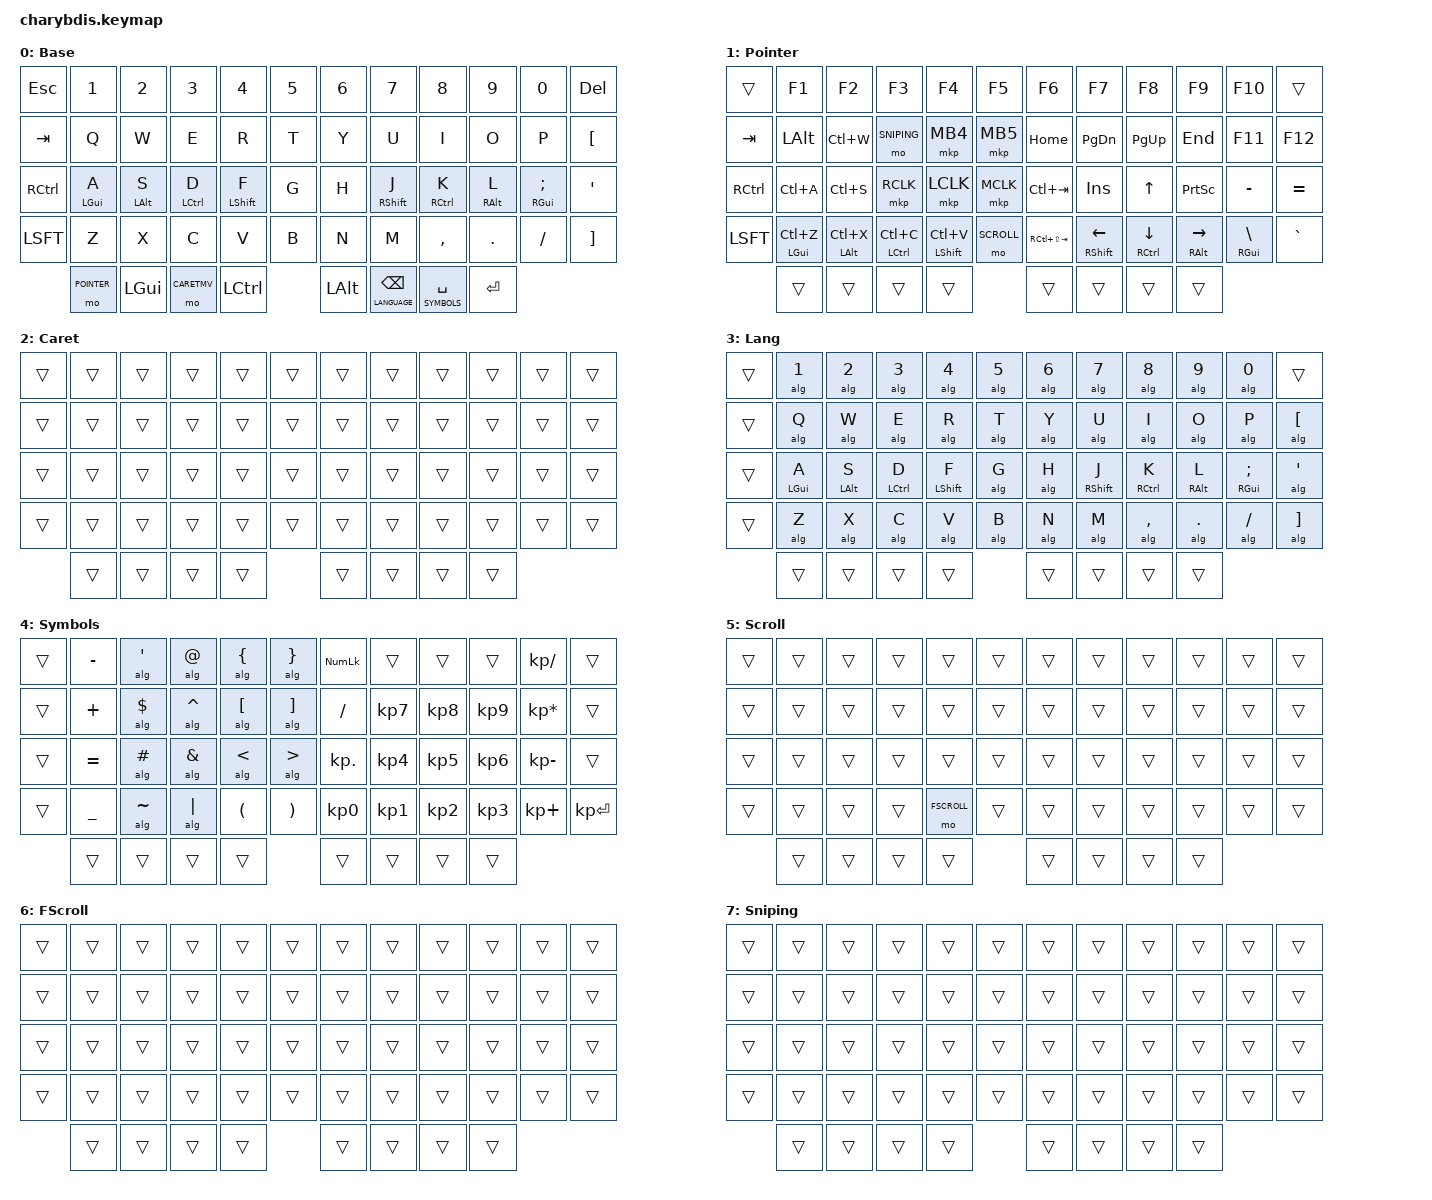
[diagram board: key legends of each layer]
#include <behaviors.dtsi>
#include <dt-bindings/zmk/keys.h>
#include <dt-bindings/zmk/pointing.h>

// Layer definitions
#define BASE 0
#define POINTER 1
#define CARETMV 2
#define LANGUAGE 3
#define SYMBOLS 4
#define SCROLL 5
#define FSCROLL 6
#define SNIPING 7

#define KEYS_L 0 1 2 3 4 5 12 13 14 15 16 17 24 25 26 27 28 29 36 37 38 39 40 41
#define KEYS_R 6 7 8 9 10 11 18 19 20 21 22 23 30 31 32 33 34 35 42 43 44 45 46 47
#define THUMBS 48 49 50 51 52 53 54 55

&mt {
    quick-tap-ms = <200>;
    flavor = "tap-preferred";
    tapping-term-ms = <170>;
};

&lt {
    quick-tap-ms = <200>;
    flavor = "tap-preferred";
    tapping-term-ms = <170>;
};
/ {
  behaviors {
    // Hold-tap behavior for layer with tap-preferred
    blt: blt {
      compatible = "zmk,behavior-hold-tap";
      #binding-cells = <2>;
      flavor = "tap-preferred";
      tapping-term-ms = <200>;
      quick-tap-ms = <300>;
      require-prior-idle-ms = <100>;
      bindings = <&mo>, <&kp>;
    };

    hml: hml {
      compatible = "zmk,behavior-hold-tap";
      #binding-cells = <2>;
      flavor = "balanced";
      tapping-term-ms = <280>;
      quick-tap-ms = <175>;
      require-prior-idle-ms = <150>;
      hold-trigger-key-positions = <KEYS_R THUMBS>;
      hold-trigger-on-release;
      bindings =
        <&kp>,
        <&kp>;
    };

    hmr: hmr {
      compatible = "zmk,behavior-hold-tap";
      #binding-cells = <2>;
      flavor = "balanced";
      tapping-term-ms = <280>;
      quick-tap-ms = <175>;
      require-prior-idle-ms = <150>;
      hold-trigger-key-positions = <KEYS_L THUMBS>;
      hold-trigger-on-release;
      bindings =
        <&kp>,
        <&kp>;
    };

    lg_hml: language_home_row_mod_left {
      compatible = "zmk,behavior-hold-tap";
      #binding-cells = <2>;
      flavor = "balanced";
      tapping-term-ms = <280>;
      quick-tap-ms = <175>;
      require-prior-idle-ms = <150>;
      hold-trigger-key-positions = <KEYS_R THUMBS>;
      hold-trigger-on-release;
      bindings =
        <&kp>,
        <&alg>;
    };

    lg_hmr: language_home_row_mod_right {
      compatible = "zmk,behavior-hold-tap";
      #binding-cells = <2>;
      flavor = "balanced";
      tapping-term-ms = <280>;
      quick-tap-ms = <175>;
      require-prior-idle-ms = <150>;
      hold-trigger-key-positions = <KEYS_L THUMBS>;
      hold-trigger-on-release;
      bindings =
        <&kp>,
        <&alg>;
    };

  };
  
  macros {
    // Switching to another language with Ctrl + Shift, typing a key, and switching back
    alg: another_language  {
      compatible = "zmk,behavior-macro-one-param";
      wait-ms = <10>;
      tap-ms = <10>;
      #binding-cells = <1>;
      bindings
		= <&macro_tap &kp LS(LCTRL)>
        , <&macro_param_1to1>
        , <&macro_tap &kp MACRO_PLACEHOLDER>
		, <&macro_tap &kp LS(LCTRL)>
        ;
    };
    
  };
  
  combos {
    compatible = "zmk,combos";
    timeout-ms = <20>;
    require-prior-idle-ms = <250>;

    combo_reset_central {
      key-positions = <10 11 46>;
      bindings = <&bootloader>;
      require-prior-idle-ms = <2000>;
    };

    combo_studio_unlock {
      timeout-ms = <50>;
      key-positions = <53 54 55>;
      bindings = <&studio_unlock>;
    };
  };
  chosen {
    zmk,physical-layout = &charybdis_6col_layout;
  };

  keymap {
    compatible = "zmk,keymap";
// ╭─────────────┬─────────────┬─────────────┬─────────────┬─────────────┬─────────────╮   ╭─────────────┬─────────────┬─────────────┬─────────────┬─────────────┬─────────────╮
//    0             1             2             3             4             5                 6             7             8             9            10            11
// ├─────────────┼─────────────┼─────────────┼─────────────┼─────────────┼─────────────┤   ├─────────────┼─────────────┼─────────────┼─────────────┼─────────────┼─────────────┤
//   12            13            14            15            16            17                18            19            20            21            22            23
// ├─────────────┼─────────────┼─────────────┼─────────────┼─────────────┼─────────────┤   ├─────────────┼─────────────┼─────────────┼─────────────┼─────────────┼─────────────┤
//   24            25            26            27            28            29                30            31            32            33            34            35
// ├─────────────┼─────────────┼─────────────┼─────────────┼─────────────┼─────────────┤   ├─────────────┼─────────────┼─────────────┼─────────────┼─────────────┼─────────────┤
//   36            37            38            39            40            41                42            43            44            45            46            47
// ╰─────────────┴─────────────┴─────────────┴─────────────┴─────────────┴─────────────╯   ╰─────────────┴─────────────┴─────────────┴─────────────┴─────────────┴─────────────╯
//               ╭─────────────┬─────────────┬─────────────┬─────────────┬─────────────╮   ╭─────────────┬─────────────┬─────────────╮
//                  48            49            50            51            52                53            54            55
//               ╰─────────────┴─────────────┴─────────────┴─────────────┴─────────────╯   ╰─────────────┴─────────────┴─────────────╯
//                                                                         Actual Key Positions
//                                          ╭─────────────┬─────────────┬─────────────╮    ╭─────────────┬─────────────╮
//                                             48           49            50                 53            54
//                                          ╰─────────────┼─────────────┼─────────────┤    ├─────────────┼─────────────╯
//                                                          51            52                 55
//                                                        ╰─────────────┴─────────────╯    ╰─────────────╯

    base_layer {
      label = "BASE";
      display-name = "Base";
      bindings = <
// ╭─────────────┬─────────────┬─────────────┬─────────────┬─────────────┬─────────────╮   ╭─────────────┬───────────────────┬────────────────┬─────────────┬───────────────┬─────────────╮
    &kp ESC       &kp N1        &kp N2        &kp N3        &kp N4        &kp N5            &kp N6        &kp N7              &kp N8           &kp N9        &kp N0          &kp DEL
// ├─────────────┼─────────────┼─────────────┼─────────────┼─────────────┼─────────────┤   ├─────────────┼───────────────────┼────────────────┼─────────────┼───────────────┼─────────────┤
    &kp TAB       &kp Q         &kp W         &kp E         &kp R         &kp T             &kp Y         &kp U               &kp I            &kp O         &kp P           &kp LBKT
// ├─────────────┼─────────────┼─────────────┼─────────────┼─────────────┼─────────────┤   ├─────────────┼───────────────────┼────────────────┼─────────────┼───────────────┼─────────────┤
    &kp RCTRL     &hml LGUI A   &hml LALT S   &hml LCTRL D  &hml LSHIFT F &kp G             &kp H         &hmr RSHIFT J       &hmr RCTRL K     &hmr RALT L   &hmr RGUI SEMI  &kp SQT
// ├─────────────┼─────────────┼─────────────┼─────────────┼─────────────┼─────────────┤   ├─────────────┼───────────────────┼────────────────┼─────────────┼───────────────┼─────────────┤
    &kp LSFT      &kp Z         &kp X         &kp C         &kp V         &kp B             &kp N         &kp M               &kp COMMA        &kp DOT       &kp FSLH        &kp RBKT
// ╰─────────────┴─────────────┴─────────────┴─────────────┴─────────────┴─────────────╯   ╰─────────────┴───────────────────┴────────────────┴─────────────┴───────────────┴─────────────╯
//               ╭─────────────┬─────────────┬─────────────┬─────────────┬─────────────╮   ╭─────────────┬───────────────────┬────────────────╮
                  &mo POINTER   &kp LGUI      &mo CARETMV   &kp LCTRL     &kp LALT          &blt LANGUAGE BSPC   &blt SYMBOLS SPACE       &kp RET
//               ╰─────────────┴─────────────┴─────────────┴─────────────┴─────────────╯   ╰─────────────┴───────────────────┴────────────────╯
      >;
    };

    pointer_layer {
      label = "POINTER";
      display-name = "Pointer";
      bindings = <
// ╭─────────────┬────────────────┬─────────────────┬─────────────────┬──────────────────┬─────────────╮   ╭───────────────┬───────────────────┬────────────────┬─────────────────┬────────────────┬─────────────╮
    &trans        &kp F1           &kp F2            &kp F3            &kp F4             &kp F5            &kp F6          &kp F7             &kp F8            &kp F9            &kp F10          &trans
// ├─────────────┼────────────────┼─────────────────┼─────────────────┼──────────────────┼─────────────┤   ├───────────────┼───────────────────┼────────────────┼─────────────────┼────────────────┼─────────────┤
    &kp TAB       &kp LALT         &kp LC(W)         &mo SNIPING       &mkp MB4           &mkp MB5          &kp HOME        &kp PG_DN          &kp PG_UP         &kp END           &kp F11          &kp F12
// ├─────────────┼────────────────┼─────────────────┼─────────────────┼──────────────────┼─────────────┤   ├───────────────┼───────────────────┼────────────────┼─────────────────┼────────────────┼─────────────┤
    &kp RCTRL     &kp LC(A)        &kp LC(S)         &mkp RCLK         &mkp LCLK          &mkp MCLK         &kp LC(TAB)     &kp INS            &kp UP            &kp PSCRN         &kp MINUS        &kp EQUAL
// ├─────────────┼────────────────┼─────────────────┼─────────────────┼──────────────────┼─────────────┤   ├───────────────┼───────────────────┼────────────────┼─────────────────┼────────────────┼─────────────┤
    &kp LSFT      &hml LGUI LC(Z)  &hml LALT LC(X)   &hml LCTRL LC(C)  &hml LSHIFT LC(V)  &mo SCROLL        &kp RC(LS(TAB)) &hmr RSHIFT LEFT   &hmr RCTRL DOWN   &hmr RALT RIGHT   &hmr RGUI BSLH   &kp GRAVE
// ╰─────────────┴────────────────┴─────────────────┴─────────────────┴──────────────────┴─────────────╯   ╰───────────────┴───────────────────┴────────────────┴─────────────────┴────────────────┴─────────────╯
//               ╭────────────────┬─────────────────┬─────────────────┬──────────────────┬─────────────╮   ╭───────────────┬───────────────────┬────────────────╮
                  &trans           &trans            &trans            &trans             &trans            &trans          &trans             &trans
//               ╰────────────────┴─────────────────┴─────────────────┴──────────────────┴─────────────╯   ╰───────────────┴───────────────────┴────────────────╯
      >;
    };
	
    caret_layer {
      label = "CARETMV";
      display-name = "Caret";
      bindings = <
// ╭─────────────┬─────────────┬─────────────┬─────────────┬─────────────┬─────────────╮   ╭─────────────┬─────────────┬─────────────┬─────────────┬─────────────┬─────────────╮
    &trans        &trans        &trans        &trans        &trans        &trans            &trans        &trans        &trans        &trans        &trans        &trans
// ├─────────────┼─────────────┼─────────────┼─────────────┼─────────────┼─────────────┤   ├─────────────┼─────────────┼─────────────┼─────────────┼─────────────┼─────────────┤
    &trans        &trans        &trans        &trans        &trans        &trans            &trans        &trans        &trans        &trans        &trans        &trans
// ├─────────────┼─────────────┼─────────────┼─────────────┼─────────────┼─────────────┤   ├─────────────┼─────────────┼─────────────┼─────────────┼─────────────┼─────────────┤
    &trans        &trans        &trans        &trans        &trans        &trans            &trans        &trans        &trans        &trans        &trans        &trans
// ├─────────────┼─────────────┼─────────────┼─────────────┼─────────────┼─────────────┤   ├─────────────┼─────────────┼─────────────┼─────────────┼─────────────┼─────────────┤
    &trans        &trans        &trans        &trans        &trans        &trans            &trans        &trans        &trans        &trans        &trans        &trans
// ╰─────────────┴─────────────┴─────────────┴─────────────┴─────────────┴─────────────╯   ╰─────────────┴─────────────┴─────────────┴─────────────┴─────────────┴─────────────╯
//               ╭─────────────┬─────────────┬─────────────┬─────────────┬─────────────╮   ╭─────────────┬─────────────┬─────────────╮
                    &trans        &trans        &trans        &trans        &trans            &trans        &trans        &trans
//               ╰─────────────┴─────────────┴─────────────┴─────────────┴─────────────╯   ╰─────────────┴─────────────┴─────────────╯
      >;
    };
	
    language_layer {
      label = "LANGUAGE";
      display-name = "Lang";
      bindings = <
// ╭─────────────┬────────────────┬────────────────┬────────────────┬──────────────────┬─────────────╮   ╭─────────────┬───────────────────┬──────────────────┬────────────────┬──────────────────┬─────────────╮
    &trans        &alg N1          &alg N2          &alg N3          &alg N4            &alg N5           &alg N6       &alg N7             &alg N8            &alg N9          &alg N0            &trans
// ├─────────────┼────────────────┼────────────────┼────────────────┼──────────────────┼─────────────┤   ├─────────────┼───────────────────┼──────────────────┼────────────────┼──────────────────┼─────────────┤
    &trans        &alg Q           &alg W           &alg E           &alg R             &alg T            &alg Y        &alg U              &alg I             &alg O           &alg P             &alg LBKT
// ├─────────────┼────────────────┼────────────────┼────────────────┼──────────────────┼─────────────┤   ├─────────────┼───────────────────┼──────────────────┼────────────────┼──────────────────┼─────────────┤
    &trans        &lg_hml LGUI A   &lg_hml LALT S   &lg_hml LCTRL D  &lg_hml LSHIFT F   &alg G            &alg H        &lg_hmr RSHIFT J    &lg_hmr RCTRL K    &lg_hmr RALT L   &lg_hmr RGUI SEMI  &alg SQT
// ├─────────────┼────────────────┼────────────────┼────────────────┼──────────────────┼─────────────┤   ├─────────────┼───────────────────┼──────────────────┼────────────────┼──────────────────┼─────────────┤
    &trans        &alg Z           &alg X           &alg C           &alg V             &alg B            &alg N        &alg M              &alg COMMA         &alg DOT         &alg FSLH          &alg RBKT
// ╰─────────────┴────────────────┴────────────────┴────────────────┴──────────────────┴─────────────╯   ╰─────────────┴───────────────────┴──────────────────┴────────────────┴──────────────────┴─────────────╯
//               ╭────────────────┬────────────────┬────────────────┬──────────────────┬─────────────╮   ╭─────────────┬───────────────────┬───────────────╮
                  &trans           &trans           &trans           &trans             &trans            &trans        &trans              &trans
//               ╰────────────────┴────────────────┴────────────────┴──────────────────┴─────────────╯   ╰─────────────┴───────────────────┴───────────────╯
      >;
    };

    symbols_layer {
      label = "SYMBOLS";
      display-name = "Symbols";
      bindings = <
// ╭─────────────┬───────────────┬──────────────────┬───────────────┬──────────────────────┬────────────────────╮   ╭─────────────────┬───────────────┬────────────────┬─────────────┬─────────────┬─────────────╮
    &trans        &kp MINUS       &alg SINGLE_QUOTE  &alg AT_SIGN    &alg LEFT_BRACE        &alg RIGHT_BRACE         &kp KP_NLCK       &trans          &trans           &trans        &kp KP_DIVIDE   &trans
// ├─────────────┼───────────────┼──────────────────┼───────────────┼──────────────────────┼────────────────────┤   ├─────────────────┼───────────────┼────────────────┼─────────────┼─────────────┼─────────────┤
    &trans        &kp PLUS        &alg DOLLAR        &alg CARET      &alg LEFT_BRACKET      &alg RIGHT_BRACKET       &kp FSLH          &kp KP_N7       &kp KP_N8        &kp KP_N9     &kp KP_MULTIPLY &trans
// ├─────────────┼───────────────┼──────────────────┼───────────────┼──────────────────────┼────────────────────┤   ├─────────────────┼───────────────┼────────────────┼─────────────┼─────────────┼─────────────┤
    &trans        &kp EQUAL       &alg HASH          &alg AMPERSAND  &alg LESS_THAN         &alg GREATER_THAN        &kp KP_DOT        &kp KP_N4       &kp KP_N5        &kp KP_N6     &kp KP_MINUS    &trans
// ├─────────────┼───────────────┼──────────────────┼───────────────┼──────────────────────┼────────────────────┤   ├─────────────────┼───────────────┼────────────────┼─────────────┼─────────────┼─────────────┤
    &trans        &kp UNDERSCORE  &alg TILDE         &alg PIPE       &kp LEFT_PARENTHESIS   &kp RIGHT_PARENTHESIS    &kp KP_N0         &kp KP_N1       &kp KP_N2        &kp KP_N3     &kp KP_PLUS     &kp KP_ENTER
// ╰─────────────┴───────────────┴──────────────────┴───────────────┴──────────────────────┴────────────────────╯   ╰─────────────────┴───────────────┴────────────────┴─────────────┴─────────────┴─────────────╯
//               ╭───────────────┬──────────────────┬───────────────┬──────────────────────┬────────────────────╮   ╭─────────────────┬───────────────┬────────────────╮
                  &trans          &trans             &trans          &trans                 &trans                   &trans            &trans          &trans
//               ╰───────────────┴──────────────────┴───────────────┴──────────────────────┴────────────────────╯   ╰─────────────────┴───────────────┴────────────────╯
      >;
    };

    scroll_layer {
      label = "SCROLL";
      display-name = "Scroll";
      bindings = <
// ╭─────────────┬─────────────┬─────────────┬─────────────┬─────────────┬─────────────╮   ╭─────────────┬─────────────┬─────────────┬─────────────┬─────────────┬─────────────╮
    &trans        &trans        &trans        &trans        &trans        &trans            &trans        &trans        &trans        &trans        &trans        &trans
// ├─────────────┼─────────────┼─────────────┼─────────────┼─────────────┼─────────────┤   ├─────────────┼─────────────┼─────────────┼─────────────┼─────────────┼─────────────┤
    &trans        &trans        &trans        &trans        &trans        &trans            &trans        &trans        &trans        &trans        &trans        &trans
// ├─────────────┼─────────────┼─────────────┼─────────────┼─────────────┼─────────────┤   ├─────────────┼─────────────┼─────────────┼─────────────┼─────────────┼─────────────┤
    &trans        &trans        &trans        &trans        &trans        &trans            &trans        &trans        &trans        &trans        &trans        &trans
// ├─────────────┼─────────────┼─────────────┼─────────────┼─────────────┼─────────────┤   ├─────────────┼─────────────┼─────────────┼─────────────┼─────────────┼─────────────┤
    &trans        &trans        &trans        &trans        &mo FSCROLL   &trans            &trans        &trans        &trans        &trans        &trans        &trans
// ╰─────────────┴─────────────┴─────────────┴─────────────┴─────────────┴─────────────╯   ╰─────────────┴─────────────┴─────────────┴─────────────┴─────────────┴─────────────╯
//               ╭─────────────┬─────────────┬─────────────┬─────────────┬─────────────╮   ╭─────────────┬─────────────┬─────────────╮
                    &trans        &trans        &trans        &trans        &trans            &trans        &trans        &trans
//               ╰─────────────┴─────────────┴─────────────┴─────────────┴─────────────╯   ╰─────────────┴─────────────┴─────────────╯
      >;
    };

    fast_scroll_layer {
      label = "FSCROLL";
      display-name = "FScroll";
      bindings = <
// ╭─────────────┬─────────────┬─────────────┬─────────────┬─────────────┬─────────────╮   ╭─────────────┬─────────────┬─────────────┬─────────────┬─────────────┬─────────────╮
    &trans        &trans        &trans        &trans        &trans        &trans            &trans        &trans        &trans        &trans        &trans        &trans
// ├─────────────┼─────────────┼─────────────┼─────────────┼─────────────┼─────────────┤   ├─────────────┼─────────────┼─────────────┼─────────────┼─────────────┼─────────────┤
    &trans        &trans        &trans        &trans        &trans        &trans            &trans        &trans        &trans        &trans        &trans        &trans
// ├─────────────┼─────────────┼─────────────┼─────────────┼─────────────┼─────────────┤   ├─────────────┼─────────────┼─────────────┼─────────────┼─────────────┼─────────────┤
    &trans        &trans        &trans        &trans        &trans        &trans            &trans        &trans        &trans        &trans        &trans        &trans
// ├─────────────┼─────────────┼─────────────┼─────────────┼─────────────┼─────────────┤   ├─────────────┼─────────────┼─────────────┼─────────────┼─────────────┼─────────────┤
    &trans        &trans        &trans        &trans        &trans        &trans            &trans        &trans        &trans        &trans        &trans        &trans
// ╰─────────────┴─────────────┴─────────────┴─────────────┴─────────────┴─────────────╯   ╰─────────────┴─────────────┴─────────────┴─────────────┴─────────────┴─────────────╯
//               ╭─────────────┬─────────────┬─────────────┬─────────────┬─────────────╮   ╭─────────────┬─────────────┬─────────────╮
                    &trans        &trans        &trans        &trans        &trans            &trans        &trans        &trans
//               ╰─────────────┴─────────────┴─────────────┴─────────────┴─────────────╯   ╰─────────────┴─────────────┴─────────────╯
      >;
    };

    sniping_layer {
      label = "SNIPING";
      display-name = "Sniping";
      bindings = <
// ╭─────────────┬─────────────┬─────────────┬─────────────┬─────────────┬─────────────╮   ╭─────────────┬─────────────┬─────────────┬─────────────┬─────────────┬─────────────╮
    &trans        &trans        &trans        &trans        &trans        &trans            &trans        &trans        &trans        &trans        &trans        &trans
// ├─────────────┼─────────────┼─────────────┼─────────────┼─────────────┼─────────────┤   ├─────────────┼─────────────┼─────────────┼─────────────┼─────────────┼─────────────┤
    &trans        &trans        &trans        &trans        &trans        &trans            &trans        &trans        &trans        &trans        &trans        &trans
// ├─────────────┼─────────────┼─────────────┼─────────────┼─────────────┼─────────────┤   ├─────────────┼─────────────┼─────────────┼─────────────┼─────────────┼─────────────┤
    &trans        &trans        &trans        &trans        &trans        &trans            &trans        &trans        &trans        &trans        &trans        &trans
// ├─────────────┼─────────────┼─────────────┼─────────────┼─────────────┼─────────────┤   ├─────────────┼─────────────┼─────────────┼─────────────┼─────────────┼─────────────┤
    &trans        &trans        &trans        &trans        &trans        &trans            &trans        &trans        &trans        &trans        &trans        &trans
// ╰─────────────┴─────────────┴─────────────┴─────────────┴─────────────┴─────────────╯   ╰─────────────┴─────────────┴─────────────┴─────────────┴─────────────┴─────────────╯
//               ╭─────────────┬─────────────┬─────────────┬─────────────┬─────────────╮   ╭─────────────┬─────────────┬─────────────╮
                    &trans        &trans        &trans        &trans        &trans            &trans        &trans        &trans
//               ╰─────────────┴─────────────┴─────────────┴─────────────┴─────────────╯   ╰─────────────┴─────────────┴─────────────╯
      >;
    };
  };
};



